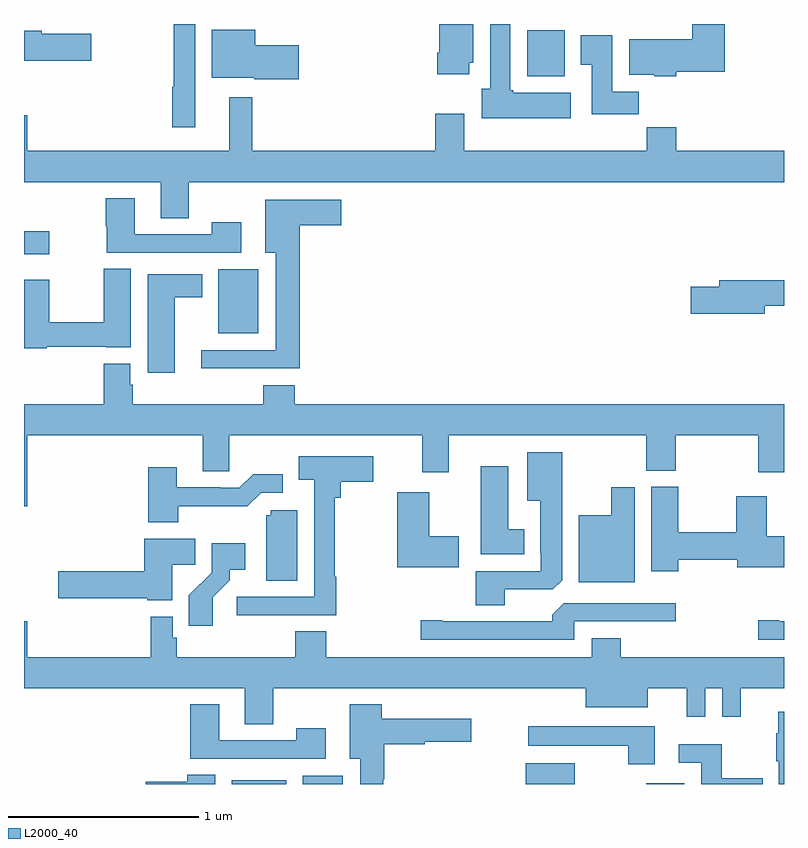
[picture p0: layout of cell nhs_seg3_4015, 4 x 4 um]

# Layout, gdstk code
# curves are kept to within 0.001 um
import gdstk
lib = gdstk.Library(unit=1e-6, precision=1e-09)
def R(c, l, rs):  # rectangles x0, y0, x1, y1
    for r in rs: c.add(gdstk.rectangle(r[:2], r[2:], *l))
def P(c, l, *ps):  # polygons
    for p in ps: c.add(gdstk.Polygon(p, *l))
L2000_40 = (2000, 40)

nhs_seg3_4015 = lib.new_cell('nhs_seg3_4015')
R(nhs_seg3_4015, L2000_40, [(322.094,712.4,322.381,712.42), (322.466,712.4,322.678,712.444), (323.642,712.4,323.899,712.51), (324.275,712.4,324.475,712.405), (322.022,714.773,322.234,715.108), (321,715.187,321.133,715.309), (323.648,716.126,323.845,716.368)])
P(nhs_seg3_4015, L2000_40, [(323.344,716.196),(323.365,716.196),(323.365,716.4),(323.186,716.4),(323.186,716.248),(323.174,716.248),(323.174,716.136),(323.344,716.136)],
  [(324.432,716.15),(324.689,716.15),(324.689,716.4),(324.518,716.4),(324.518,716.32),(324.185,716.32),(324.185,716.132),(324.318,716.132),(324.318,716.126),(324.432,716.126)],
  [(323.878,716.038),(323.574,716.038),(323.574,716.052),(323.56,716.052),(323.56,716.4),(323.453,716.4),(323.453,716.058),(323.408,716.058),(323.408,715.904),(323.878,715.904)],
  [(321.901,716.4),(321.787,716.4),(321.787,716.069),(321.78,716.069),(321.78,715.857),(321.901,715.857)],
  [(322.447,716.288),(322.216,716.288),(322.216,716.371),(321.989,716.371),(321.989,716.117),(322.212,716.117),(322.212,716.11),(322.447,716.11)],
  [(321.355,716.348),(321.094,716.348),(321.094,716.365),(321,716.365),(321,716.206),(321.355,716.206)],
  [(324.236,716.044),(324.097,716.044),(324.097,716.341),(323.93,716.341),(323.93,716.185),(323.987,716.185),(323.987,715.926),(324.236,715.926)],
  [(321.867,715.568),(325,715.568),(325,715.732),(324.434,715.732),(324.434,715.856),(324.277,715.856),(324.277,715.732),(323.317,715.732),(323.317,715.927),(323.165,715.927),(323.165,715.732),(322.201,715.732),(322.201,716.014),(322.079,716.014),(322.079,715.732),(321.016,715.732),(321.016,715.921),(321,715.921),(321,715.568),(321.719,715.568),(321.719,715.378),(321.867,715.378)],
  [(322.144,715.357),(321.988,715.357),(321.988,715.293),(321.583,715.293),(321.583,715.483),(321.431,715.483),(321.431,715.335),(321.436,715.335),(321.436,715.197),(322.144,715.197)],
  [(322.451,715.34),(322.669,715.34),(322.669,715.474),(322.271,715.474),(322.271,715.196),(322.325,715.196),(322.325,714.684),(321.933,714.684),(321.933,714.587),(322.451,714.587)],
  [(321.12,714.702),(321.432,714.702),(321.432,714.698),(321.562,714.698),(321.562,715.112),(321.421,715.112),(321.421,714.83),(321.132,714.83),(321.132,715.054),(321,715.054),(321,714.694),(321.12,714.694)],
  [(321.793,714.962),(321.937,714.962),(321.937,715.084),(321.65,715.084),(321.65,714.564),(321.793,714.564)],
  [(324.898,714.916),(325,714.916),(325,715.052),(324.659,715.052),(324.659,715.016),(324.51,715.016),(324.51,714.874),(324.898,714.874)],
  [(321.016,714.236),(321.941,714.236),(321.941,714.046),(322.08,714.046),(322.08,714.236),(323.096,714.236),(323.096,714.042),(323.236,714.042),(323.236,714.236),(324.274,714.236),(324.274,714.049),(324.429,714.049),(324.429,714.236),(324.865,714.236),(324.865,714.042),(325,714.042),(325,714.4),(322.424,714.4),(322.424,714.499),(322.259,714.499),(322.259,714.4),(321.572,714.4),(321.572,714.501),(321.559,714.501),(321.559,714.613),(321.419,714.613),(321.419,714.4),(321,714.4),(321,713.862),(321.016,713.862)],
  [(323.53,713.424),(323.784,713.424),(323.833,713.473),(323.833,714.145),(323.648,714.145),(323.648,713.891),(323.717,713.891),(323.717,713.617),(323.721,713.617),(323.721,713.52),(323.378,713.52),(323.378,713.341),(323.53,713.341)],
  [(322.343,713.289),(322.643,713.289),(322.643,713.492),(322.636,713.492),(322.636,713.906),(322.668,713.906),(322.668,713.99),(322.837,713.99),(322.837,714.124),(322.447,714.124),(322.447,714.002),(322.527,714.002),(322.527,713.385),(322.119,713.385),(322.119,713.287),(322.343,713.287)],
  [(323.632,713.74),(323.548,713.74),(323.548,714.073),(323.405,714.073),(323.405,713.609),(323.632,713.609)],
  [(321.813,713.862),(322.175,713.861),(322.248,713.934),(322.362,713.934),(322.362,714.031),(322.207,714.031),(322.134,713.958),(322.034,713.958),(322.034,713.961),(321.805,713.961),(321.805,714.067),(321.653,714.067),(321.653,713.777),(321.813,713.777)],
  [(324.444,713.579),(324.755,713.579),(324.755,713.54),(325,713.54),(325,713.703),(324.91,713.703),(324.91,713.914),(324.748,713.914),(324.748,713.726),(324.444,713.726),(324.444,713.964),(324.302,713.964),(324.302,713.52),(324.444,713.52)],
  [(324.214,713.962),(324.092,713.962),(324.092,713.815),(323.921,713.815),(323.921,713.462),(324.214,713.462)],
  [(323.287,713.703),(323.134,713.703),(323.134,713.935),(322.964,713.935),(322.964,713.54),(323.287,713.54)],
  [(322.438,713.841),(322.299,713.841),(322.299,713.814),(322.274,713.814),(322.274,713.47),(322.438,713.47)],
  [(321.781,713.554),(321.902,713.554),(321.902,713.692),(321.632,713.692),(321.632,713.519),(321.18,713.519),(321.18,713.377),(321.648,713.377),(321.648,713.366),(321.781,713.366)],
  [(321.994,713.383),(322.084,713.473),(322.084,713.528),(322.165,713.528),(322.165,713.668),(321.987,713.668),(321.987,713.513),(321.868,713.394),(321.868,713.232),(321.994,713.232)],
  [(323.895,713.256),(324.43,713.256),(324.43,713.352),(323.841,713.352),(323.78,713.29),(323.78,713.256),(323.2,713.256),(323.2,713.261),(323.088,713.261),(323.088,713.16),(323.895,713.16)],
  [(322.163,712.714),(322.311,712.714),(322.311,712.904),(323.957,712.904),(323.957,712.805),(324.283,712.805),(324.283,712.904),(324.488,712.904),(324.488,712.755),(324.585,712.755),(324.585,712.904),(324.675,712.904),(324.675,712.755),(324.773,712.755),(324.773,712.904),(325,712.904),(325,713.068),(324.14,713.068),(324.14,713.167),(323.987,713.167),(323.987,713.068),(322.592,713.068),(322.592,713.204),(322.427,713.204),(322.427,713.068),(321.803,713.068),(321.803,713.169),(321.783,713.169),(321.783,713.281),(321.667,713.281),(321.667,713.068),(321.016,713.068),(321.016,713.257),(321,713.257),(321,712.904),(322.163,712.904)],
  [(325,713.256),(324.976,713.256),(324.976,713.261),(324.864,713.261),(324.864,713.16),(325,713.16)],
  [(322.588,712.693),(322.432,712.693),(322.432,712.629),(322.027,712.629),(322.027,712.819),(321.875,712.819),(321.875,712.533),(322.588,712.533)],
  [(322.89,712.426),(322.895,712.426),(322.895,712.61),(323.109,712.61),(323.109,712.622),(323.353,712.622),(323.353,712.744),(322.882,712.744),(322.882,712.819),(322.715,712.819),(322.715,712.532),(322.769,712.532),(322.769,712.4),(322.89,712.4)],
  [(325,712.78),(324.971,712.78),(324.971,712.667),(324.96,712.667),(324.96,712.519),(324.972,712.519),(324.972,712.4),(325,712.4)],
  [(324.319,712.705),(323.655,712.705),(323.655,712.601),(324.179,712.601),(324.179,712.503),(324.319,712.503)],
  [(324.887,712.431),(324.673,712.431),(324.673,712.609),(324.447,712.609),(324.447,712.512),(324.564,712.512),(324.564,712.4),(324.887,712.4)],
  [(322.006,712.448),(321.86,712.448),(321.86,712.412),(321.642,712.412),(321.642,712.4),(322.006,712.4)])

lib.write_gds('nhs_seg3_4015.gds')
